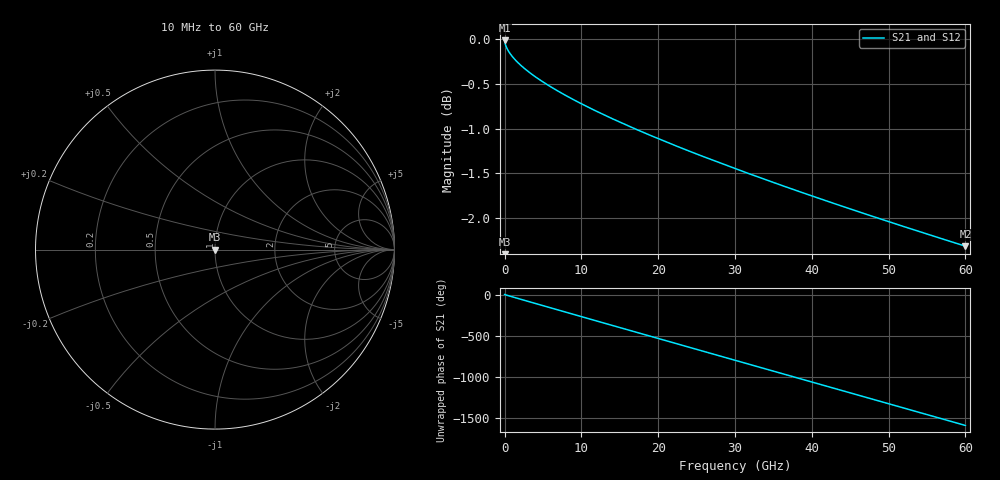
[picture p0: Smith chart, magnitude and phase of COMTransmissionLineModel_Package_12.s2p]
! File created by SignalIntegrity v1.3.5: Signal and Power Integrity Tools
! https://github.com/TeledyneLeCroy/SignalIntegrity
# MHz S MA R 39.1
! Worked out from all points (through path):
!   6000 points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, 10 MHz to 60 GHz, reference 39.1 ohm
!   highest |S21| = -0.02 dB at 10 MHz (marker M1); lowest = -2.3 dB at 60 GHz (marker M2)
!   group delay of S21, straight-line fit = 73.3 ps
!   lowest |S11| = - dB at 10 MHz (marker M3), VSWR 1.00, Z = 39.1 + j0 ohm
!   |S11| at or under -10 dB: start of sweep to end of sweep
!   |S22| runs from - to - dB; largest |S21 - S12| = 0
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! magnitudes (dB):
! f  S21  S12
! 10 MHz  0.0  0.0
! 500 MHz  -0.1  -0.1
! 740 MHz  -0.2  -0.2
! 1.03 GHz  -0.2  -0.2
! 1.41 GHz  -0.2  -0.2
! 1.86 GHz  -0.3  -0.3
! 2.95 GHz  -0.4  -0.4
! 4.32 GHz  -0.4  -0.4
! 5.96 GHz  -0.5  -0.5
! 7.85 GHz  -0.6  -0.6
! 10.01 GHz  -0.7  -0.7
! 12.19 GHz  -0.8  -0.8
! 14.58 GHz  -0.9  -0.9
! 17.18 GHz  -1.0  -1.0
! 20.01 GHz  -1.1  -1.1
! 24.74 GHz  -1.3  -1.3
! 30.01 GHz  -1.4  -1.4
! 34.82 GHz  -1.6  -1.6
! 40.01 GHz  -1.7  -1.7
! 50.01 GHz  -2.0  -2.0
! 56.77 GHz  -2.2  -2.2
! 60 GHz  -2.3  -2.3
